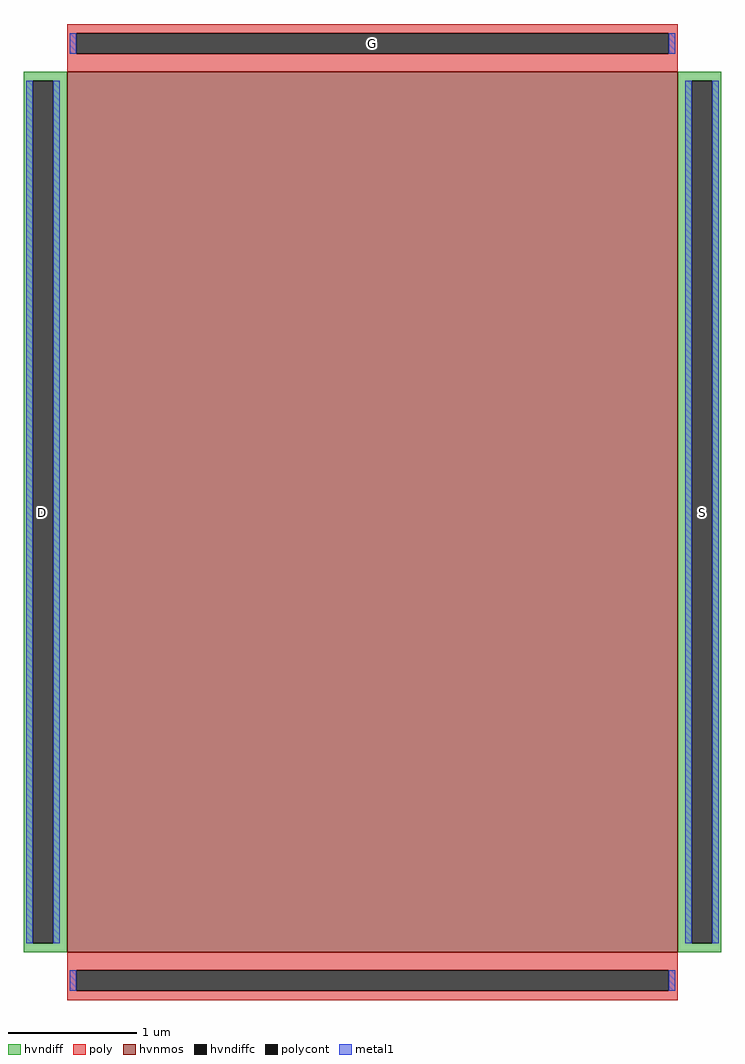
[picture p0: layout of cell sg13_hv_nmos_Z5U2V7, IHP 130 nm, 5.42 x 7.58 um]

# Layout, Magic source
magic
tech ihp-sg13cmos5l
<< hvnmos >>
rect -237 -342 237 342
<< hvndiff >>
rect -271 335 -237 342
rect -271 -335 -264 335
rect -248 -335 -237 335
rect -271 -342 -237 -335
rect 237 335 271 342
rect 237 -335 248 335
rect 264 -335 271 335
rect 237 -342 271 -335
<< hvndiffc >>
rect -264 -335 -248 335
rect 248 -335 264 335
<< poly >>
rect -237 372 237 379
rect -237 356 -230 372
rect 230 356 237 372
rect -237 342 237 356
rect -237 -356 237 -342
rect -237 -372 -230 -356
rect 230 -372 237 -356
rect -237 -379 237 -372
<< polycont >>
rect -230 356 230 372
rect -230 -372 230 -356
<< metal1 >>
rect -235 356 -230 372
rect 230 356 235 372
rect -269 -335 -264 335
rect -248 -335 -243 335
rect 243 -335 248 335
rect 264 -335 269 335
rect -235 -372 -230 -356
rect 230 -372 235 -356
<< labels >>
rlabel hvndiffc -256 0 -256 0 0 D
port 10 nsew
rlabel hvndiffc 256 0 256 0 0 S
port 11 nsew
rlabel polycont 0 364 0 364 0 G
port 12 nsew
<< properties >>
string gencell sg13_hv_nmos
string library sg13cmos5l
string parameters w 6.84 l 4.74 m 1 ng 1 diffcov 100 polycov 100 guard 0 glc 1 grc 1 gtc 1 gbc 1 tbcov 100 rlcov 100 topc 1 botc 1 poverlap 0 doverlap 1 lmin 0.45 wmin 0.15 class mosfet compatible {sg13_lv_nmos sg13_hv_nmos} full_metal 1 conn_gates 0 gate_ring 0 doports 1 viasrc 0 viadrn 0 viagate 0 ccols 1 viagb 0 viagr 0 viagl 0 viagt 0
<< end >>
